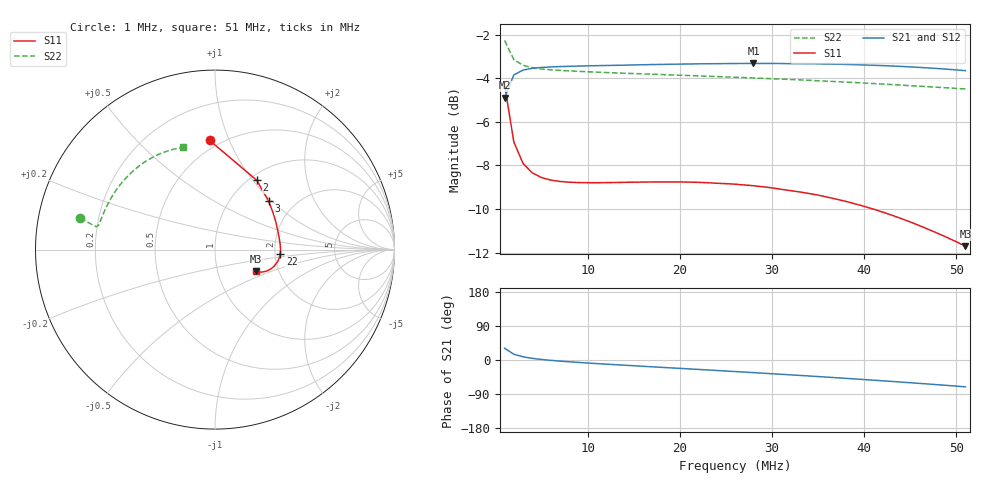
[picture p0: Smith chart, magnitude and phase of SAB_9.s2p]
# MHz S RI R 50
! S-Parameters data
! Freq  reS11  imS11  reS21  imS21  reS12  imS12  reS22  imS22
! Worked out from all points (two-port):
!   51 points, 1 MHz to 51 MHz, reference 50 ohm
!   highest |S21| = -3.32 dB at 28 MHz (marker M1); lowest = -4.9 dB at 1 MHz (marker M2)
!   |S21| within 3 dB of the highest: start of sweep to end of sweep
!   lowest |S11| = -11.7 dB at 51 MHz (marker M3), VSWR 1.70, Z = 76.6 - j20 ohm
!   |S11| at or under -10 dB: 40.97 MHz to end of sweep
!   |S22| runs from -4.5 to -2.3 dB; largest |S21 - S12| = 0.00087
!   S11 on the Smith chart (normalised r, x): 1 MHz: 0.44, +0.85; 2 MHz: 1.08, +1.05; 3 MHz: 1.49, +0.95; 22 MHz: 2.14, -0.11; 51 MHz: 1.53, -0.40
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1  -0.0296 0.608  0.4879 0.2928  0.488 0.2927  -0.7502 0.1746
2  0.2333 0.3857  0.6196 0.168  0.6196 0.1675  -0.6822 0.138
3  0.2993 0.2686  0.6517 0.0961  0.6516 0.0957  -0.6633 0.1279
4  0.3245 0.2029  0.663 0.0502  0.6629 0.0497  -0.6542 0.1306
5  0.3368 0.1611  0.6677 0.0165  0.6678 0.0161  -0.6479 0.1392
6  0.344 0.132  0.6696 -0.0106  0.6695 -0.0111  -0.6422 0.1506
7  0.3487 0.1103  0.6701 -0.034  0.67 -0.0346  -0.6369 0.1636
8  0.3522 0.0933  0.6696 -0.0551  0.6696 -0.0557  -0.6313 0.1778
10  0.357 0.0676  0.667 -0.0929  0.667 -0.0937  -0.6191 0.2073
13  0.3615 0.0395  0.6598 -0.1443  0.6596 -0.1451  -0.598 0.2521
15  0.3635 0.0241  0.6534 -0.1767  0.6531 -0.1774  -0.5821 0.2815
18  0.3648 0.00322  0.6402 -0.2248  0.6402 -0.2244  -0.5554 0.3248
22  0.3633 -0.0226  0.6177 -0.2859  0.6173 -0.2856  -0.5158 0.3767
26  0.3574 -0.0469  0.5879 -0.3455  0.5876 -0.3451  -0.4723 0.4232
28  0.3527 -0.0587  0.5702 -0.3746  0.5699 -0.3742  -0.4493 0.444
31  0.3427 -0.0755  0.5395 -0.417  0.5392 -0.4165  -0.414 0.4722
35  0.3268 -0.0949  0.4922 -0.47  0.492 -0.4696  -0.365 0.5043
39  0.3056 -0.1108  0.4361 -0.5188  0.436 -0.5182  -0.3159 0.5297
43  0.2811 -0.1213  0.3714 -0.5613  0.3713 -0.5607  -0.2673 0.5483
47  0.2547 -0.1252  0.2977 -0.5959  0.2977 -0.5953  -0.2211 0.5612
49  0.242 -0.1244  0.2581 -0.6094  0.258 -0.6088  -0.199 0.5657
51  0.2295 -0.1218  0.2161 -0.6201  0.2163 -0.6194  -0.1777 0.569
